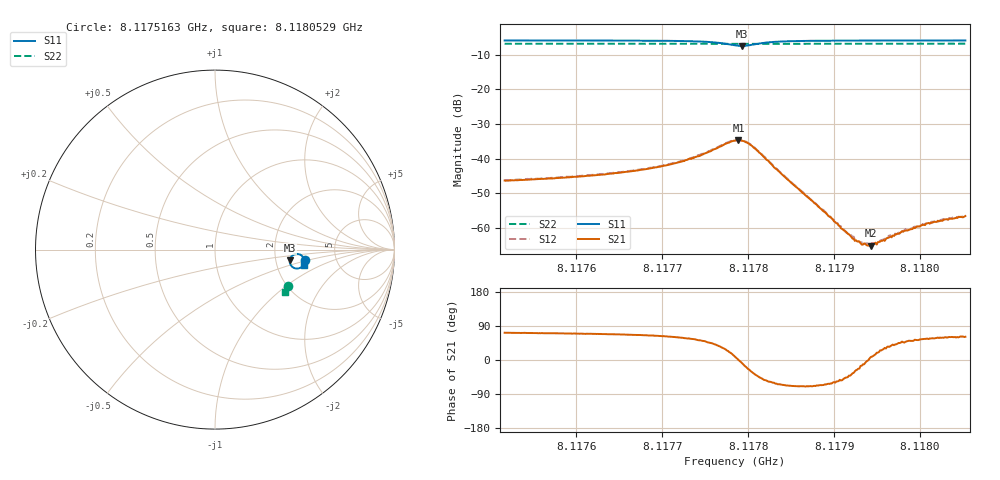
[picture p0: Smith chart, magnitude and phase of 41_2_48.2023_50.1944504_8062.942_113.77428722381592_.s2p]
#  HZ  S  RI  R  50.00
! Rohde & Schwarz Vector Network Analyzer
! Rohde-Schwarz,ZNB20-2Port,1311601062101988,3.16
! Created: UTC 3/20/2024, 11:37:52 AM
! freq[Hz]  re:S11  im:S11  re:S21  im:S21  re:S12  im:S12  re:S22  im:S22
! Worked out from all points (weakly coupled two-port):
!   401 points, 8.1175163 GHz to 8.1180529 GHz, reference 50 ohm
!   highest |S21| = -34.68 dB at 8.1177886 GHz (marker M1); lowest = -65.1 dB at 8.1179429 GHz (marker M2)
!   lowest |S11| = -7.5 dB at 8.1177927 GHz (marker M3), VSWR 2.45, Z = 120 - j17.1 ohm
!   |S11| at or under -10 dB: nowhere
!   |S22| runs from -7.0 to -6.9 dB; largest |S21 - S12| = 0.00052
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8.11751632e9  0.5014 -0.0596  0.0015 0.0046  0.00157 0.00458  0.4041 -0.2031
8.1176062e9  0.4992 -0.0696  0.00196 0.00521  0.00204 0.00531  0.4013 -0.2088
8.11765315e9  0.4969 -0.0763  0.00246 0.00584  0.00256 0.00591  0.4 -0.2118
8.11769608e9  0.4929 -0.085  0.00343 0.00684  0.00355 0.00693  0.3983 -0.2147
8.11772022e9  0.4879 -0.0916  0.00453 0.0077  0.00473 0.00779  0.3974 -0.2165
8.11774303e9  0.4782 -0.0997  0.0067 0.00862  0.00703 0.00887  0.3962 -0.2181
8.11776986e9  0.4478 -0.1045  0.013 0.00828  0.0134 0.00832  0.394 -0.2194
8.11778462e9  0.4206 -0.0835  0.0179 0.00286  0.0183 0.00274  0.3927 -0.2191
8.11778864e9  0.4167 -0.0716  0.0185 0.000233  0.0187 1.99e-05  0.3925 -0.2188
8.11779266e9  0.4166 -0.0587  0.0179 -0.00248  0.0183 -0.00269  0.3927 -0.2185
8.11780608e9  0.4403 -0.0275  0.0119 -0.00841  0.0121 -0.0087  0.3936 -0.2184
8.11783157e9  0.4816 -0.0323  0.00336 -0.0064  0.00349 -0.0066  0.3945 -0.2206
8.11787449e9  0.4966 -0.0532  0.000863 -0.00231  0.000858 -0.00233  0.3936 -0.2241
8.11791474e9  0.4986 -0.0638  0.000599 -0.000624  0.000604 -0.000599  0.3922 -0.227
8.11792413e9  0.4989 -0.0657  0.000567 -0.000327  0.000592 -0.000339  0.3921 -0.2275
8.11793352e9  0.499 -0.0675  0.000564 -0.000115  0.00056 -0.000112  0.3916 -0.2282
8.11794291e9  0.499 -0.069  0.000551 7.83e-05  0.000596 6.22e-05  0.3913 -0.2289
8.11794962e9  0.4989 -0.0703  0.00055 0.000192  0.000541 0.000202  0.3909 -0.2293
8.11796437e9  0.499 -0.0724  0.000606 0.000418  0.000627 0.000466  0.3906 -0.2302
8.11798047e9  0.4988 -0.0746  0.000608 0.000644  0.000625 0.000658  0.3902 -0.2314
8.11800998e9  0.4986 -0.0783  0.000676 0.000975  0.000665 0.000981  0.3889 -0.2332
8.11805291e9  0.498 -0.083  0.000715 0.00131  0.000726 0.00131  0.3875 -0.2358
